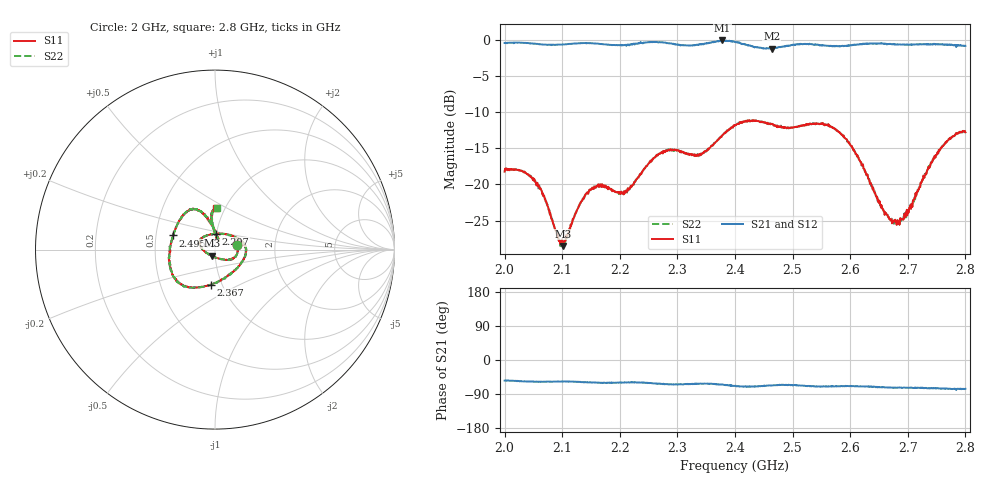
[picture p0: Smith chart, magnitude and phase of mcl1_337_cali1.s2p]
# MHz S MA R 50
!  freq  S11  S21  S12  S22
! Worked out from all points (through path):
!   1000 points, 2 GHz to 2.8 GHz, reference 50 ohm
!   highest |S21| = -0.10 dB at 2.378 GHz (marker M1); lowest = -1.2 dB at 2.464 GHz (marker M2)
!   group delay of S21, straight-line fit = 72.4 ps
!   lowest |S11| = -28.5 dB at 2.101 GHz (marker M3), VSWR 1.08, Z = 48.2 - j3.22 ohm
!   |S11| at or under -10 dB: start of sweep to end of sweep
!   |S22| runs from -28.5 to -11.1 dB; largest |S21 - S12| = 0.021
!   S11 on the Smith chart (normalised r, x): 2 GHz: 1.27, +0.07; 2.207 GHz: 0.99, +0.18; 2.367 GHz: 0.89, -0.36; 2.495 GHz: 0.62, +0.10; 2.8 GHz: 0.91, +0.44
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2000  0.1226 12.0  0.9499 -54.5  0.9484 -54.1  0.1234 12.2
2052.853  0.1059 -31.1  0.9389 -57.2  0.9381 -57.4  0.1067 -31.1
2100.901  0.0376 -117.5  0.9271 -56.7  0.9275 -57.4  0.03847 -119.0
2133.734  0.07674 171.9  0.9475 -58.3  0.9468 -58.0  0.07703 172.2
2163.363  0.09613 147.1  0.9366 -59.7  0.9397 -59.9  0.09819 147.2
2207.407  0.08969 87.2  0.9175 -59.1  0.9178 -59.4  0.08977 87.1
2266.667  0.1615 13.7  0.9582 -62.5  0.9587 -62.9  0.1612 14.1
2312.312  0.1648 -24.7  0.9149 -63.5  0.9132 -63.8  0.1663 -25.1
2340.34  0.1633 -62.4  0.9285 -62.0  0.9288 -62.1  0.1627 -62.6
2366.767  0.1972 -96.8  0.9687 -63.8  0.9696 -63.9  0.1982 -97.1
2377.978  0.2192 -108.6  0.9888 -64.6  0.9866 -64.9  0.2189 -108.7
2400.4  0.2564 -125.8  0.9667 -68.8  0.965 -69.3  0.2554 -125.8
2433.233  0.2749 -145.9  0.891 -69.8  0.8912 -70.2  0.2749 -146.1
2463.664  0.2612 -169.3  0.8681 -67.4  0.8718 -67.2  0.2596 -168.6
2494.895  0.2461 161.3  0.9105 -65.8  0.9124 -65.9  0.2453 160.6
2534.134  0.2628 130.1  0.932 -69.1  0.9269 -69.7  0.2619 130.3
2564.565  0.2546 116.9  0.9089 -69.6  0.9125 -69.5  0.2512 117.0
2592.593  0.2065 107.6  0.9074 -68.8  0.9069 -69.3  0.2053 108.0
2667.067  0.05937 72.1  0.9334 -72.7  0.9324 -73.2  0.0585 71.2
2693.493  0.05812 74.4  0.923 -73.1  0.9221 -73.7  0.06025 73.2
2750.35  0.1605 96.5  0.9303 -74.9  0.926 -74.2  0.16 97.1
2800  0.2292 88.1  0.9072 -76.1  0.9118 -76.9  0.2323 87.3
